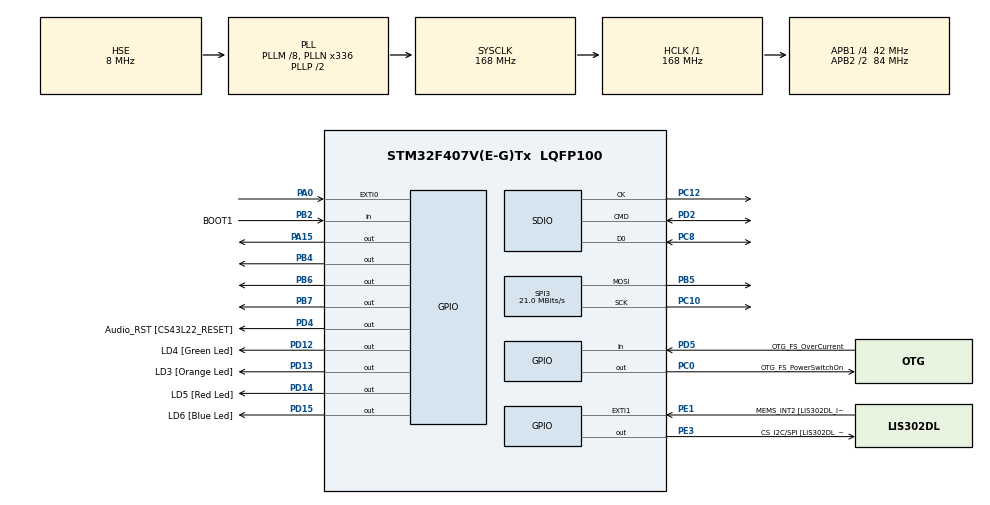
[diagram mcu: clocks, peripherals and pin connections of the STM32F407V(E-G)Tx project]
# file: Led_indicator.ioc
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Mcu.Family=STM32F4
Mcu.Name=STM32F407V(E-G)Tx
Mcu.Package=LQFP100
NVIC.EXTI0_IRQn=true\:0\:0\:false
NVIC.PriorityGroup=NVIC_PRIORITYGROUP_0
NVIC.SPI3_IRQn=true\:0\:0\:false
NVIC.TIM6_DAC_IRQn=true\:0\:0\:false
NVIC.TIM7_IRQn=true\:0\:0\:false
PA0-WKUP.GPIO_ModeDefaultEXTI=GPIO_MODE_IT_RISING
PA0-WKUP.GPIO_PuPd=GPIO_NOPULL
PA0-WKUP.Signal=GPXTI0
PA10.GPIO_Label=OTG_FS_ID
PA10.GPIO_Mode=GPIO_MODE_AF_PP
PA10.GPIO_PuPd=GPIO_NOPULL
PA10.GPIO_Speed=GPIO_SPEED_LOW
PA10.Signal=USB_OTG_FS_ID
PA11.GPIO_Label=OTG_FS_DM
PA11.GPIO_Mode=GPIO_MODE_AF_PP
PA11.GPIO_PuPd=GPIO_NOPULL
PA11.GPIO_Speed=GPIO_SPEED_LOW
PA11.Signal=USB_OTG_FS_DM
PA12.GPIO_Label=OTG_FS_DP
PA12.GPIO_Mode=GPIO_MODE_AF_PP
PA12.GPIO_PuPd=GPIO_NOPULL
PA12.GPIO_Speed=GPIO_SPEED_LOW
PA12.Signal=USB_OTG_FS_DP
PA13.GPIO_Label=SWDIO
PA13.Mode=Trace-Asynchronous_SW
PA13.Signal=SYS_JTMS-SWDIO
PA14.GPIO_Label=SWCLK
PA14.Mode=Trace-Asynchronous_SW
PA14.Signal=SYS_JTCK-SWCLK
PA15.Signal=GPIO_Output
PA4.GPIO_Label=I2S3_WS [CS43L22_LRCK]
PA4.GPIO_Mode=GPIO_MODE_AF_PP
PA4.GPIO_PuPd=GPIO_NOPULL
PA4.GPIO_Speed=GPIO_SPEED_LOW
PA4.Signal=I2S3_WS
PA5.GPIO_Label=SPI1_SCK [LIS302DL_SCL/SPC]
PA5.GPIO_Mode=GPIO_MODE_AF_PP
PA5.GPIO_PuPd=GPIO_NOPULL
PA5.GPIO_Speed=GPIO_SPEED_LOW
PA5.Signal=SPI1_SCK
PA6.GPIO_Label=SPI1_MISO [LIS302DL_SDO]
PA6.GPIO_Mode=GPIO_MODE_AF_PP
PA6.GPIO_PuPd=GPIO_NOPULL
PA6.GPIO_Speed=GPIO_SPEED_LOW
PA6.Signal=SPI1_MISO
PA7.GPIO_Label=SPI1_MOSI [LIS302DL_SDA/SDI/SDO]
PA7.GPIO_Mode=GPIO_MODE_AF_PP
PA7.GPIO_PuPd=GPIO_NOPULL
PA7.GPIO_Speed=GPIO_SPEED_LOW
PA7.Signal=SPI1_MOSI
PA9.GPIO_Label=VBUS_FS
PA9.GPIO_Mode=GPIO_MODE_INPUT
PA9.GPIO_PuPd=GPIO_NOPULL
PA9.Signal=USB_OTG_FS_VBUS
PB10.GPIO_Label=CLK_IN [MP45DT02_CLK]
PB10.GPIO_Mode=GPIO_MODE_AF_PP
PB10.GPIO_PuPd=GPIO_NOPULL
PB10.GPIO_Speed=GPIO_SPEED_LOW
PB10.Signal=I2S2_CK
PB2.GPIO_Label=BOOT1
PB2.GPIO_Mode=GPIO_MODE_INPUT
PB2.GPIO_PuPd=GPIO_NOPULL
PB2.Signal=GPIO_Input
PB3.GPIO_Label=SWO
PB3.Mode=Trace-Asynchronous_SW
PB3.Signal=SYS_JTDO-SWO
PB4.GPIO_ModeDefaultOutputPP=GPIO_MODE_OUTPUT_PP
PB4.GPIO_PuPd=GPIO_PULLUP
PB4.GPIO_Speed=GPIO_SPEED_LOW
PB4.Signal=GPIO_Output
PB5.Mode=TX_Only_Simplex_Unidirect_Master
PB5.Signal=SPI3_MOSI
PB6.Signal=GPIO_Output
PB7.Signal=GPIO_Output
PC0.GPIO_Label=OTG_FS_PowerSwitchOn
PC0.GPIO_ModeDefaultOutputPP=GPIO_MODE_OUTPUT_PP
PC0.GPIO_PuPd=GPIO_NOPULL
PC0.GPIO_Speed=GPIO_SPEED_LOW
PC0.Signal=GPIO_Output
PC10.Mode=TX_Only_Simplex_Unidirect_Master
PC10.Signal=SPI3_SCK
PC12.Mode=SD_1_bit
PC12.Signal=SDIO_CK
PC14-OSC32_IN.GPIO_Label=PC14-OSC32_IN
PC14-OSC32_IN.Signal=RCC_OSC32_IN
PC15-OSC32_OUT.GPIO_Label=PC15-OSC32_OUT
PC15-OSC32_OUT.Signal=RCC_OSC32_OUT
PC3.GPIO_Label=PDM_OUT [MP45DT02_DOUT]
PC3.GPIO_Mode=GPIO_MODE_AF_PP
PC3.GPIO_PuPd=GPIO_NOPULL
PC3.GPIO_Speed=GPIO_SPEED_LOW
PC3.Signal=I2S2_SD
PC7.GPIO_Label=I2S3_MCK [CS43L22_MCLK]
PC7.GPIO_Mode=GPIO_MODE_AF_PP
PC7.GPIO_PuPd=GPIO_NOPULL
PC7.GPIO_Speed=GPIO_SPEED_LOW
PC7.Signal=I2S3_MCK
PC8.Mode=SD_1_bit
PC8.Signal=SDIO_D0
PD12.GPIO_Label=LD4 [Green Led]
PD12.GPIO_ModeDefaultOutputPP=GPIO_MODE_OUTPUT_PP
PD12.GPIO_PuPd=GPIO_NOPULL
PD12.GPIO_Speed=GPIO_SPEED_LOW
PD12.Signal=GPIO_Output
PD13.GPIO_Label=LD3 [Orange Led]
PD13.GPIO_ModeDefaultOutputPP=GPIO_MODE_OUTPUT_PP
PD13.GPIO_PuPd=GPIO_NOPULL
PD13.GPIO_Speed=GPIO_SPEED_LOW
PD13.Signal=GPIO_Output
PD14.GPIO_Label=LD5 [Red Led]
PD14.GPIO_ModeDefaultOutputPP=GPIO_MODE_OUTPUT_PP
PD14.GPIO_PuPd=GPIO_NOPULL
PD14.GPIO_Speed=GPIO_SPEED_LOW
PD14.Signal=GPIO_Output
PD15.GPIO_Label=LD6 [Blue Led]
PD15.GPIO_ModeDefaultOutputPP=GPIO_MODE_OUTPUT_PP
PD15.GPIO_PuPd=GPIO_NOPULL
PD15.GPIO_Speed=GPIO_SPEED_LOW
PD15.Signal=GPIO_Output
PD2.Mode=SD_1_bit
PD2.Signal=SDIO_CMD
PD4.GPIO_Label=Audio_RST [CS43L22_RESET]
PD4.GPIO_ModeDefaultOutputPP=GPIO_MODE_OUTPUT_PP
PD4.GPIO_PuPd=GPIO_NOPULL
PD4.GPIO_Speed=GPIO_SPEED_LOW
PD4.Signal=GPIO_Output
PD5.GPIO_Label=OTG_FS_OverCurrent
PD5.GPIO_Mode=GPIO_MODE_INPUT
PD5.GPIO_PuPd=GPIO_NOPULL
PD5.Signal=GPIO_Input
PE1.GPIO_Label=MEMS_INT2 [LIS302DL_INT2]
PE1.GPIO_ModeDefaultEXTI=GPIO_MODE_EVT_RISING
PE1.GPIO_PuPd=GPIO_NOPULL
PE1.Signal=GPXTI1
PE3.GPIO_Label=CS_I2C/SPI [LIS302DL_CS_I2C/SPI]
PE3.GPIO_ModeDefaultOutputPP=GPIO_MODE_OUTPUT_PP
PE3.GPIO_PuPd=GPIO_NOPULL
PE3.GPIO_Speed=GPIO_SPEED_LOW
PE3.Signal=GPIO_Output
PH0-OSC_IN.GPIO_Label=PH0-OSC_IN
PH0-OSC_IN.Mode=HSE-External-Oscillator
PH0-OSC_IN.Signal=RCC_OSC_IN
PH1-OSC_OUT.GPIO_Label=PH1-OSC_OUT
PH1-OSC_OUT.Mode=HSE-External-Oscillator
PH1-OSC_OUT.Signal=RCC_OSC_OUT
ProjectManager.TargetToolchain=EWARM
RCC.48MHZClocksFreq_Value=48000000
RCC.AHBFreq_Value=168000000
RCC.APB1CLKDivider=RCC_HCLK_DIV4
RCC.APB1Freq_Value=42000000
RCC.APB1TimFreq_Value=84000000
RCC.APB2CLKDivider=RCC_HCLK_DIV2
RCC.APB2Freq_Value=84000000
RCC.APB2TimFreq_Value=168000000
RCC.CortexFreq_Value=21000000
RCC.HCLKFreq_Value=168000000
RCC.HSE_VALUE=8000000
RCC.HSI_VALUE=16000000
RCC.LSE_VALUE=32768
RCC.PLLM=8
RCC.PLLN=336
RCC.PLLQ=7
RCC.PLLSource=RCC_PLLSOURCE_HSE
RCC.PLLSourceVirtual=RCC_PLLSOURCE_HSE
RCC.SYSCLKFreq_VALUE=168000000
RCC.SYSCLKSource=RCC_SYSCLKSOURCE_PLLCLK
RCC.VCOOutputFreq_Value=336000000
SDIO.BusWide=SDIO_BUS_WIDE_1B
SPI3.CalculateBaudRate=21.0 MBits/s
SPI3.FirstBit=SPI_FIRSTBIT_LSB
SPI3.Mode=SPI_MODE_MASTER
TIM6.Period=52500
TIM6.Prescaler=4
TIM7.Period=65535
TIM7.Prescaler=1000
VP_TIM6_VS_ClockSourceINT.Mode=Enable_Timer
VP_TIM7_VS_ClockSourceINT.Mode=Enable_Timer

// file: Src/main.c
/**
  ******************************************************************************
  * File Name          : main.c
  * Date               : 03/08/2015 15:56:01
  * Description        : Main program body
  ******************************************************************************
  *
  * COPYRIGHT(c) 2015 STMicroelectronics
  *
  * Redistribution and use in source and binary forms, with or without modification,
  * are permitted provided that the following conditions are met:
  *   1. Redistributions of source code must retain the above copyright notice,
  *      this list of conditions and the following disclaimer.
  *   2. Redistributions in binary form must reproduce the above copyright notice,
  *      this list of conditions and the following disclaimer in the documentation
  *      and/or other materials provided with the distribution.
  *   3. Neither the name of STMicroelectronics nor the names of its contributors
  *      may be used to endorse or promote products derived from this software
  *      without specific prior written permission.
  *
  * THIS SOFTWARE IS PROVIDED BY THE COPYRIGHT HOLDERS AND CONTRIBUTORS "AS IS"
  * AND ANY EXPRESS OR IMPLIED WARRANTIES, INCLUDING, BUT NOT LIMITED TO, THE
  * IMPLIED WARRANTIES OF MERCHANTABILITY AND FITNESS FOR A PARTICULAR PURPOSE ARE
  * DISCLAIMED. IN NO EVENT SHALL THE COPYRIGHT HOLDER OR CONTRIBUTORS BE LIABLE
  * FOR ANY DIRECT, INDIRECT, INCIDENTAL, SPECIAL, EXEMPLARY, OR CONSEQUENTIAL
  * DAMAGES (INCLUDING, BUT NOT LIMITED TO, PROCUREMENT OF SUBSTITUTE GOODS OR
  * SERVICES; LOSS OF USE, DATA, OR PROFITS; OR BUSINESS INTERRUPTION) HOWEVER
  * CAUSED AND ON ANY THEORY OF LIABILITY, WHETHER IN CONTRACT, STRICT LIABILITY,
  * OR TORT (INCLUDING NEGLIGENCE OR OTHERWISE) ARISING IN ANY WAY OUT OF THE USE
  * OF THIS SOFTWARE, EVEN IF ADVISED OF THE POSSIBILITY OF SUCH DAMAGE.
  *
  ******************************************************************************
  */

#include "stm32f4xx_hal.h"

/* USER CODE BEGIN Includes */

#define ARM_MATH_CM4
#include "math.h"

/* USER CODE END Includes */

SD_HandleTypeDef hsd;
HAL_SD_CardInfoTypedef SDCardInfo;

SPI_HandleTypeDef hspi3;

TIM_HandleTypeDef htim6;
TIM_HandleTypeDef htim7;

/* USER CODE BEGIN PV */
typedef enum {
  D0 = 0xFC0,
  D1 = 0x600,
  D2 = 0xDA0,
  D3 = 0xF20,
  D4 = 0x660,
  D5 = 0xB60,
  D6 = 0xBE0,
  D7 = 0xE00,
  D8 = 0xFE0,
  D9 = 0xF60,
  D10 = 0xC60,
} DIGITS;
typedef enum {
  K1 = 0x8,
  K2 = 0x4,
  K3 = 0x2,
  K4 = 0x1,
} KATODS;

uint8_t pData[3];
int tim = 0;
int spi = 0;
uint8_t hour = 0;
uint16_t angle = 0;
uint16_t old_angle = 0;
DIGITS digits [11] = {D0,D1,D2,D3,D4,D5,D6,D7,D8,D9,D10};
KATODS digits_k [4] = {K1,K2,K3,K4};
int flag_zerro = 0;
uint8_t shift = 0;
char reset = 0;
/* USER CODE END PV */

void SystemClock_Config(void);
static void MX_GPIO_Init(void);
static void MX_SDIO_SD_Init(void);
static void MX_SPI3_Init(void);
static void MX_TIM6_Init(void);
static void MX_TIM7_Init(void);

/* USER CODE BEGIN PFP */
void reset_led()
{
  old_angle = 0;
  pData[2] &= 0;
  pData[1] &= 0;
  pData[0] &= 0;

}
int pow_digit(uint8_t base,uint8_t degree)
{
  int pow = 1;
  for (int i = 1; i <= degree; i++)
    pow *= base;
  return pow;
}
void shift_katode()
{

  pData[0] |= digits_k[shift];
  shift ++;
  if (shift > 3)
  {
    angle = old_angle ;
    shift = 0;
    flag_zerro = 0;
  }
}
void send_Data()
{
  HAL_GPIO_WritePin(GPIOB, GPIO_PIN_6,GPIO_PIN_SET);
  HAL_SPI_Transmit(&hspi3, pData, 3, 1);
  HAL_GPIO_WritePin(GPIOB, GPIO_PIN_7,GPIO_PIN_SET);
  HAL_GPIO_WritePin(GPIOB, GPIO_PIN_7,GPIO_PIN_RESET);
  HAL_GPIO_WritePin(GPIOB, GPIO_PIN_6,GPIO_PIN_RESET);
 }
void make_digits_reset(uint8_t right, uint8_t left)
{
  pData[1] &= left;
  pData[0] &= right;
}
void make_digits(uint8_t right, uint8_t left)
{
  pData[1] |= left;
  pData[0] |= right;
}
void hour_to_led (uint8_t hour)
{
  uint8_t base_hour = 0x80; // 10000000 - 1hour
  uint8_t shift = 0;
  if (hour <= 8)
  {
    shift = base_hour >> hour-1;
    pData[2] = pData[2] | shift;
  }
  else if (8 < hour <= 12)
  {
    shift = base_hour >> hour - 9;
    pData[1] = pData[1] | shift;
  }
}
void angle_to_indicator (uint8_t shift)
{

  uint16_t base_digits = 0xF000;
  uint8_t digits_right = base_digits;
  uint8_t digits_left = base_digits >> 8;
  make_digits_reset (digits_right, digits_left);
  if (shift < 3 )
  {
    uint16_t digit_num[3];
    int pow = pow_digit(10,shift);
    digit_num[shift] = angle / (100 / pow);
    if (digit_num[shift] == 0 && shift == 0)
    {
      flag_zerro = 1;
      make_digits (0, 0);
    }
    else if(digit_num[shift] == 0 && flag_zerro == 1)
    {
      make_digits (0, 0);
    }
    else
    {
      flag_zerro = 0;
      angle -= digit_num[shift] * (100 / pow);
      digit_num[shift] = digits[digit_num[shift]];
      digits_right = digit_num[shift];
      digits_left = digit_num[shift] >> 8;
      make_digits (digits_right, digits_left);
    }

  }
  else if (shift == 3 && old_angle != 0)
  {
    digits_right = digits[10];
    digits_left = digits[10] >> 8;
    make_digits (digits_right, digits_left);
  }
}

/* USER CODE END PFP */

int main(void)
{

  /* USER CODE BEGIN 1 */
HAL_GPIO_WritePin(GPIOA, GPIO_PIN_15,GPIO_PIN_SET);
angle = old_angle ;

  /* USER CODE END 1 */

  /* MCU Configuration----------------------------------------------------------*/

  /* Reset of all peripherals, Initializes the Flash interface and the Systick. */
  HAL_Init();

  /* Configure the system clock */
  SystemClock_Config();

  /* Initialize all configured peripherals */
  MX_GPIO_Init();
  MX_SDIO_SD_Init();
  MX_SPI3_Init();
  MX_TIM6_Init();
  MX_TIM7_Init();

  /* USER CODE BEGIN 2 */
HAL_TIM_Base_Start_IT(&htim6);
HAL_TIM_Base_Start_IT(&htim7);
  /* USER CODE END 2 */

  /* Infinite loop */
  while (1)
  {

  }

}

/** System Clock Configuration
*/
void SystemClock_Config(void)
{

  RCC_OscInitTypeDef RCC_OscInitStruct;
  RCC_ClkInitTypeDef RCC_ClkInitStruct;

  __PWR_CLK_ENABLE();

  __HAL_PWR_VOLTAGESCALING_CONFIG(PWR_REGULATOR_VOLTAGE_SCALE1);

  RCC_OscInitStruct.OscillatorType = RCC_OSCILLATORTYPE_HSE;
  RCC_OscInitStruct.HSEState = RCC_HSE_ON;
  RCC_OscInitStruct.PLL.PLLState = RCC_PLL_ON;
  RCC_OscInitStruct.PLL.PLLSource = RCC_PLLSOURCE_HSE;
  RCC_OscInitStruct.PLL.PLLM = 8;
  RCC_OscInitStruct.PLL.PLLN = 336;
  RCC_OscInitStruct.PLL.PLLP = RCC_PLLP_DIV2;
  RCC_OscInitStruct.PLL.PLLQ = 7;
  HAL_RCC_OscConfig(&RCC_OscInitStruct);

  RCC_ClkInitStruct.ClockType = RCC_CLOCKTYPE_SYSCLK|RCC_CLOCKTYPE_PCLK1
                              |RCC_CLOCKTYPE_PCLK2;
  RCC_ClkInitStruct.SYSCLKSource = RCC_SYSCLKSOURCE_PLLCLK;
  RCC_ClkInitStruct.AHBCLKDivider = RCC_SYSCLK_DIV1;
  RCC_ClkInitStruct.APB1CLKDivider = RCC_HCLK_DIV4;
  RCC_ClkInitStruct.APB2CLKDivider = RCC_HCLK_DIV2;
  HAL_RCC_ClockConfig(&RCC_ClkInitStruct, FLASH_LATENCY_5);

}

/* SDIO init function */
void MX_SDIO_SD_Init(void)
{

  hsd.Instance = SDIO;
  hsd.Init.ClockEdge = SDIO_CLOCK_EDGE_RISING;
  hsd.Init.ClockBypass = SDIO_CLOCK_BYPASS_DISABLE;
  hsd.Init.ClockPowerSave = SDIO_CLOCK_POWER_SAVE_DISABLE;
  hsd.Init.BusWide = SDIO_BUS_WIDE_1B;
  hsd.Init.HardwareFlowControl = SDIO_HARDWARE_FLOW_CONTROL_DISABLE;
  hsd.Init.ClockDiv = 0;
  HAL_SD_Init(&hsd, &SDCardInfo);

}

/* SPI3 init function */
void MX_SPI3_Init(void)
{

  hspi3.Instance = SPI3;
  hspi3.Init.Mode = SPI_MODE_MASTER;
  hspi3.Init.Direction = SPI_DIRECTION_2LINES;
  hspi3.Init.DataSize = SPI_DATASIZE_8BIT;
  hspi3.Init.CLKPolarity = SPI_POLARITY_LOW;
  hspi3.Init.CLKPhase = SPI_PHASE_1EDGE;
  hspi3.Init.NSS = SPI_NSS_SOFT;
  hspi3.Init.BaudRatePrescaler = SPI_BAUDRATEPRESCALER_2;
  hspi3.Init.FirstBit = SPI_FIRSTBIT_LSB;
  hspi3.Init.TIMode = SPI_TIMODE_DISABLED;
  hspi3.Init.CRCCalculation = SPI_CRCCALCULATION_DISABLED;
  HAL_SPI_Init(&hspi3);

}

/* TIM6 init function */
void MX_TIM6_Init(void)
{

  TIM_MasterConfigTypeDef sMasterConfig;

  htim6.Instance = TIM6;
  htim6.Init.Prescaler = 4;
  htim6.Init.CounterMode = TIM_COUNTERMODE_UP;
  htim6.Init.Period = 52500;
  HAL_TIM_Base_Init(&htim6);

  sMasterConfig.MasterOutputTrigger = TIM_TRGO_RESET;
  sMasterConfig.MasterSlaveMode = TIM_MASTERSLAVEMODE_DISABLE;
  HAL_TIMEx_MasterConfigSynchronization(&htim6, &sMasterConfig);

}

/* TIM7 init function */
void MX_TIM7_Init(void)
{

  TIM_MasterConfigTypeDef sMasterConfig;

  htim7.Instance = TIM7;
  htim7.Init.Prescaler = 1000;
  htim7.Init.CounterMode = TIM_COUNTERMODE_UP;
  htim7.Init.Period = 65535;
  HAL_TIM_Base_Init(&htim7);

  sMasterConfig.MasterOutputTrigger = TIM_TRGO_RESET;
  sMasterConfig.MasterSlaveMode = TIM_MASTERSLAVEMODE_DISABLE;
  HAL_TIMEx_MasterConfigSynchronization(&htim7, &sMasterConfig);

}

/** Configure pins as
        * Analog
        * Input
        * Output
        * EVENT_OUT
        * EXTI
     PC3   ------> I2S2_SD
     PA4   ------> I2S3_WS
     PA5   ------> SPI1_SCK
     PA6   ------> SPI1_MISO
     PA7   ------> SPI1_MOSI
     PB10   ------> I2S2_CK
     PC7   ------> I2S3_MCK
     PA9   ------> USB_OTG_FS_VBUS
     PA10   ------> USB_OTG_FS_ID
     PA11   ------> USB_OTG_FS_DM
     PA12   ------> USB_OTG_FS_DP
*/
void MX_GPIO_Init(void)
{

  GPIO_InitTypeDef GPIO_InitStruct;

  /* GPIO Ports Clock Enable */
  __GPIOE_CLK_ENABLE();
  __GPIOC_CLK_ENABLE();
  __GPIOH_CLK_ENABLE();
  __GPIOA_CLK_ENABLE();
  __GPIOB_CLK_ENABLE();
  __GPIOD_CLK_ENABLE();

  /*Configure GPIO pin : PE3 */
  GPIO_InitStruct.Pin = GPIO_PIN_3;
  GPIO_InitStruct.Mode = GPIO_MODE_OUTPUT_PP;
  GPIO_InitStruct.Pull = GPIO_NOPULL;
  GPIO_InitStruct.Speed = GPIO_SPEED_LOW;
  HAL_GPIO_Init(GPIOE, &GPIO_InitStruct);

  /*Configure GPIO pin : PC0 */
  GPIO_InitStruct.Pin = GPIO_PIN_0;
  GPIO_InitStruct.Mode = GPIO_MODE_OUTPUT_PP;
  GPIO_InitStruct.Pull = GPIO_NOPULL;
  GPIO_InitStruct.Speed = GPIO_SPEED_LOW;
  HAL_GPIO_Init(GPIOC, &GPIO_InitStruct);

  /*Configure GPIO pin : PC3 */
  GPIO_InitStruct.Pin = GPIO_PIN_3;
  GPIO_InitStruct.Mode = GPIO_MODE_AF_PP;
  GPIO_InitStruct.Pull = GPIO_NOPULL;
  GPIO_InitStruct.Speed = GPIO_SPEED_LOW;
  GPIO_InitStruct.Alternate = GPIO_AF5_SPI2;
  HAL_GPIO_Init(GPIOC, &GPIO_InitStruct);

  /*Configure GPIO pin : PA0 */
  GPIO_InitStruct.Pin = GPIO_PIN_0;
  GPIO_InitStruct.Mode = GPIO_MODE_IT_RISING;
  GPIO_InitStruct.Pull = GPIO_NOPULL;
  HAL_GPIO_Init(GPIOA, &GPIO_InitStruct);

  /*Configure GPIO pin : PA4 */
  GPIO_InitStruct.Pin = GPIO_PIN_4;
  GPIO_InitStruct.Mode = GPIO_MODE_AF_PP;
  GPIO_InitStruct.Pull = GPIO_NOPULL;
  GPIO_InitStruct.Speed = GPIO_SPEED_LOW;
  GPIO_InitStruct.Alternate = GPIO_AF6_SPI3;
  HAL_GPIO_Init(GPIOA, &GPIO_InitStruct);

  /*Configure GPIO pins : PA5 PA6 PA7 */
  GPIO_InitStruct.Pin = GPIO_PIN_5|GPIO_PIN_6|GPIO_PIN_7;
  GPIO_InitStruct.Mode = GPIO_MODE_AF_PP;
  GPIO_InitStruct.Pull = GPIO_NOPULL;
  GPIO_InitStruct.Speed = GPIO_SPEED_LOW;
  GPIO_InitStruct.Alternate = GPIO_AF5_SPI1;
  HAL_GPIO_Init(GPIOA, &GPIO_InitStruct);

  /*Configure GPIO pin : PB2 */
  GPIO_InitStruct.Pin = GPIO_PIN_2;
  GPIO_InitStruct.Mode = GPIO_MODE_INPUT;
  GPIO_InitStruct.Pull = GPIO_NOPULL;
  HAL_GPIO_Init(GPIOB, &GPIO_InitStruct);

  /*Configure GPIO pin : PB10 */
  GPIO_InitStruct.Pin = GPIO_PIN_10;
  GPIO_InitStruct.Mode = GPIO_MODE_AF_PP;
  GPIO_InitStruct.Pull = GPIO_NOPULL;
  GPIO_InitStruct.Speed = GPIO_SPEED_LOW;
  GPIO_InitStruct.Alternate = GPIO_AF5_SPI2;
  HAL_GPIO_Init(GPIOB, &GPIO_InitStruct);

  /*Configure GPIO pins : PD12 PD13 PD14 PD15
                           PD4 */
  GPIO_InitStruct.Pin = GPIO_PIN_12|GPIO_PIN_13|GPIO_PIN_14|GPIO_PIN_15
                          |GPIO_PIN_4;
  GPIO_InitStruct.Mode = GPIO_MODE_OUTPUT_PP;
  GPIO_InitStruct.Pull = GPIO_NOPULL;
  GPIO_InitStruct.Speed = GPIO_SPEED_LOW;
  HAL_GPIO_Init(GPIOD, &GPIO_InitStruct);

  /*Configure GPIO pin : PC7 */
  GPIO_InitStruct.Pin = GPIO_PIN_7;
  GPIO_InitStruct.Mode = GPIO_MODE_AF_PP;
  GPIO_InitStruct.Pull = GPIO_NOPULL;
  GPIO_InitStruct.Speed = GPIO_SPEED_LOW;
  GPIO_InitStruct.Alternate = GPIO_AF6_SPI3;
  HAL_GPIO_Init(GPIOC, &GPIO_InitStruct);

  /*Configure GPIO pin : PA9 */
  GPIO_InitStruct.Pin = GPIO_PIN_9;
  GPIO_InitStruct.Mode = GPIO_MODE_INPUT;
  GPIO_InitStruct.Pull = GPIO_NOPULL;
  HAL_GPIO_Init(GPIOA, &GPIO_InitStruct);

  /*Configure GPIO pins : PA10 PA11 PA12 */
  GPIO_InitStruct.Pin = GPIO_PIN_10|GPIO_PIN_11|GPIO_PIN_12;
  GPIO_InitStruct.Mode = GPIO_MODE_AF_PP;
  GPIO_InitStruct.Pull = GPIO_NOPULL;
  GPIO_InitStruct.Speed = GPIO_SPEED_LOW;
  GPIO_InitStruct.Alternate = GPIO_AF10_OTG_FS;
  HAL_GPIO_Init(GPIOA, &GPIO_InitStruct);

  /*Configure GPIO pin : PA15 */
  GPIO_InitStruct.Pin = GPIO_PIN_15;
  GPIO_InitStruct.Mode = GPIO_MODE_OUTPUT_PP;
  GPIO_InitStruct.Pull = GPIO_NOPULL;
  GPIO_InitStruct.Speed = GPIO_SPEED_LOW;
  HAL_GPIO_Init(GPIOA, &GPIO_InitStruct);

  /*Configure GPIO pin : PD5 */
  GPIO_InitStruct.Pin = GPIO_PIN_5;
  GPIO_InitStruct.Mode = GPIO_MODE_INPUT;
  GPIO_InitStruct.Pull = GPIO_NOPULL;
  HAL_GPIO_Init(GPIOD, &GPIO_InitStruct);

  /*Configure GPIO pin : PB4 */
  GPIO_InitStruct.Pin = GPIO_PIN_4;
  GPIO_InitStruct.Mode = GPIO_MODE_OUTPUT_PP;
  GPIO_InitStruct.Pull = GPIO_PULLUP;
  GPIO_InitStruct.Speed = GPIO_SPEED_LOW;
  HAL_GPIO_Init(GPIOB, &GPIO_InitStruct);

  /*Configure GPIO pins : PB6 PB7 */
  GPIO_InitStruct.Pin = GPIO_PIN_6|GPIO_PIN_7;
  GPIO_InitStruct.Mode = GPIO_MODE_OUTPUT_PP;
  GPIO_InitStruct.Pull = GPIO_NOPULL;
  GPIO_InitStruct.Speed = GPIO_SPEED_LOW;
  HAL_GPIO_Init(GPIOB, &GPIO_InitStruct);

  /*Configure GPIO pin : PE1 */
  GPIO_InitStruct.Pin = GPIO_PIN_1;
  GPIO_InitStruct.Mode = GPIO_MODE_EVT_RISING;
  GPIO_InitStruct.Pull = GPIO_NOPULL;
  HAL_GPIO_Init(GPIOE, &GPIO_InitStruct);

  /* EXTI interrupt init*/
  HAL_NVIC_SetPriority(EXTI0_IRQn, 0, 0);
  HAL_NVIC_EnableIRQ(EXTI0_IRQn);

}

/* USER CODE BEGIN 4 */
void HAL_SPI_TxCpltCallback(SPI_HandleTypeDef *hspi)
{
  HAL_GPIO_WritePin(GPIOB, GPIO_PIN_7,GPIO_PIN_SET);
  HAL_GPIO_WritePin(GPIOB, GPIO_PIN_7,GPIO_PIN_RESET);
  HAL_GPIO_WritePin(GPIOB, GPIO_PIN_6,GPIO_PIN_SET);
  spi++;
}
void HAL_TIM_PeriodElapsedCallback(TIM_HandleTypeDef *htim)
{
  if (htim == &htim6)
  {
    angle_to_indicator(shift);
    hour_to_led(hour);
    shift_katode();
    send_Data();
    tim++;
    if (tim == 1000 && reset == 1)
    {
      reset = 0;
      hour = 0;
      old_angle = 0;
      shift = 0;
      angle_to_indicator(shift);
      hour_to_led(hour);
      tim = 0;
    }
    else if (tim == 1000)
    {
      tim = 0;
    }
  }
  if (htim == &htim7)
    {
      hour += 1;
      old_angle += 30;
      if (hour > 12)
      {
        reset_led();
        hour = 1;
        old_angle = 30;
      }
    }

}
void HAL_GPIO_EXTI_Callback(uint16_t GPIO_Pin)
{
  reset_led();
  reset = 1;
}
/* USER CODE END 4 */

/************************ (C) COPYRIGHT STMicroelectronics *****END OF FILE****/
